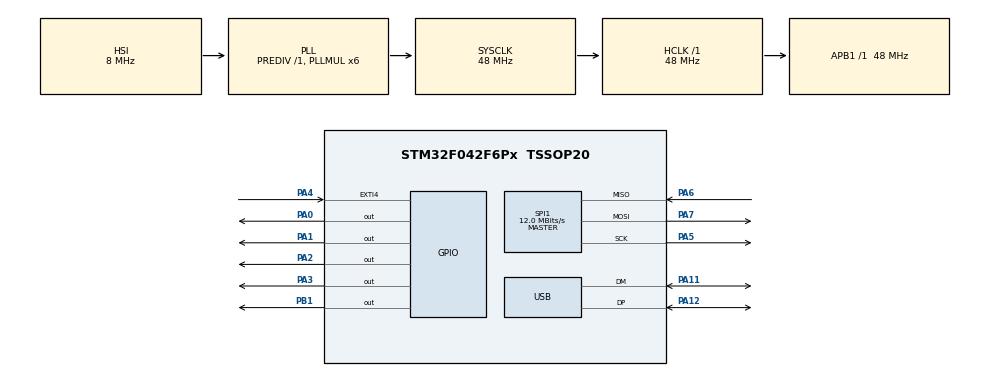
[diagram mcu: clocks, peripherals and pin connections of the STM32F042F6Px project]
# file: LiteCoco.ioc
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Dma.Request0=SPI1_RX
Dma.Request1=SPI1_TX
Dma.SPI1_RX.0.Direction=DMA_PERIPH_TO_MEMORY
Dma.SPI1_RX.0.Instance=DMA1_Channel2
Dma.SPI1_RX.0.MemDataAlignment=DMA_MDATAALIGN_HALFWORD
Dma.SPI1_RX.0.MemInc=DMA_MINC_ENABLE
Dma.SPI1_RX.0.Mode=DMA_NORMAL
Dma.SPI1_RX.0.PeriphDataAlignment=DMA_PDATAALIGN_HALFWORD
Dma.SPI1_RX.0.PeriphInc=DMA_PINC_DISABLE
Dma.SPI1_RX.0.Priority=DMA_PRIORITY_LOW
Dma.SPI1_TX.1.Direction=DMA_MEMORY_TO_PERIPH
Dma.SPI1_TX.1.Instance=DMA1_Channel3
Dma.SPI1_TX.1.MemDataAlignment=DMA_MDATAALIGN_HALFWORD
Dma.SPI1_TX.1.MemInc=DMA_MINC_ENABLE
Dma.SPI1_TX.1.Mode=DMA_NORMAL
Dma.SPI1_TX.1.PeriphDataAlignment=DMA_PDATAALIGN_HALFWORD
Dma.SPI1_TX.1.PeriphInc=DMA_PINC_DISABLE
Dma.SPI1_TX.1.Priority=DMA_PRIORITY_LOW
Mcu.Family=STM32F0
Mcu.Name=STM32F042F6Px
Mcu.Package=TSSOP20
NVIC.DMA1_Channel2_3_IRQn=true\:0\:0\:false\:false\:true\:false
NVIC.EXTI4_15_IRQn=true\:0\:0\:true\:false\:true\:true
NVIC.USB_IRQn=true\:0\:0\:false\:false\:true\:false
PA0.Signal=GPIO_Output
PA1.Signal=GPIO_Output
PA11.Mode=Device
PA11.Signal=USB_DM
PA12.Mode=Device
PA12.Signal=USB_DP
PA13.Mode=Serial_Wire
PA13.Signal=SYS_SWDIO
PA14.Mode=Serial_Wire
PA14.Signal=SYS_SWCLK
PA2.Signal=GPIO_Output
PA3.Signal=GPIO_Output
PA4.Signal=GPXTI4
PA5.Mode=Full_Duplex_Master
PA5.Signal=SPI1_SCK
PA6.Mode=Full_Duplex_Master
PA6.Signal=SPI1_MISO
PA7.Mode=Full_Duplex_Master
PA7.Signal=SPI1_MOSI
PB1.Signal=GPIO_Output
ProjectManager.HeapSize=0x200
ProjectManager.StackSize=0x400
ProjectManager.TargetToolchain=TrueSTUDIO
RCC.AHBFreq_Value=48000000
RCC.APB1Freq_Value=48000000
RCC.APB1TimFreq_Value=48000000
RCC.HCLKFreq_Value=48000000
RCC.PLLMUL=RCC_PLL_MUL6
RCC.SYSCLKFreq_VALUE=48000000
RCC.SYSCLKSource=RCC_SYSCLKSOURCE_PLLCLK
SPI1.BaudRatePrescaler=SPI_BAUDRATEPRESCALER_4
SPI1.CRCCalculation=SPI_CRCCALCULATION_ENABLE
SPI1.CRCLength=SPI_CRC_LENGTH_16BIT
SPI1.CRCPolynomial=X12+X5+X0
SPI1.CalculateBaudRate=12.0 MBits/s
SPI1.DataSize=SPI_DATASIZE_16BIT
SPI1.Direction=SPI_DIRECTION_2LINES
SPI1.Mode=SPI_MODE_MASTER
SPI1.NSSPMode=SPI_NSS_PULSE_DISABLE
SPI1.VirtualType=VM_MASTER
TIM16.AutoReloadPreload=TIM_AUTORELOAD_PRELOAD_ENABLE
TIM16.Period=1000
TIM16.Prescaler=48
USB_DEVICE.APP_RX_DATA_SIZE=128
USB_DEVICE.APP_TX_DATA_SIZE=128
USB_DEVICE.CLASS_NAME_FS=CDC
USB_DEVICE.CONFIGURATION_STRING_CDC_FS=U2S Coms
USB_DEVICE.MANUFACTURER_STRING=Ingenia
USB_DEVICE.PRODUCT_STRING_CDC_FS=Turonet
USB_DEVICE.VirtualMode=Cdc
USB_DEVICE.VirtualModeFS=Cdc_FS
VP_SYS_VS_PINREMAP.Mode=PINREMAP
VP_TIM16_VS_ClockSourceINT.Mode=Enable_Timer
VP_USB_DEVICE_VS_USB_DEVICE_CDC_FS.Mode=CDC_FS
board=LiteCoco

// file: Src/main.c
/**
  ******************************************************************************
  * @file           : main.c
  * @brief          : Main program body
  ******************************************************************************
  * This notice applies to any and all portions of this file
  * that are not between comment pairs USER CODE BEGIN and
  * USER CODE END. Other portions of this file, whether
  * inserted by the user or by software development tools
  * are owned by their respective copyright owners.
  *
  * Copyright (c) 2018 STMicroelectronics International N.V.
  * All rights reserved.
  *
  * Redistribution and use in source and binary forms, with or without
  * modification, are permitted, provided that the following conditions are met:
  *
  * 1. Redistribution of source code must retain the above copyright notice,
  *    this list of conditions and the following disclaimer.
  * 2. Redistributions in binary form must reproduce the above copyright notice,
  *    this list of conditions and the following disclaimer in the documentation
  *    and/or other materials provided with the distribution.
  * 3. Neither the name of STMicroelectronics nor the names of other
  *    contributors to this software may be used to endorse or promote products
  *    derived from this software without specific written permission.
  * 4. This software, including modifications and/or derivative works of this
  *    software, must execute solely and exclusively on microcontroller or
  *    microprocessor devices manufactured by or for STMicroelectronics.
  * 5. Redistribution and use of this software other than as permitted under
  *    this license is void and will automatically terminate your rights under
  *    this license.
  *
  * THIS SOFTWARE IS PROVIDED BY STMICROELECTRONICS AND CONTRIBUTORS "AS IS"
  * AND ANY EXPRESS, IMPLIED OR STATUTORY WARRANTIES, INCLUDING, BUT NOT
  * LIMITED TO, THE IMPLIED WARRANTIES OF MERCHANTABILITY, FITNESS FOR A
  * PARTICULAR PURPOSE AND NON-INFRINGEMENT OF THIRD PARTY INTELLECTUAL PROPERTY
  * RIGHTS ARE DISCLAIMED TO THE FULLEST EXTENT PERMITTED BY LAW. IN NO EVENT
  * SHALL STMICROELECTRONICS OR CONTRIBUTORS BE LIABLE FOR ANY DIRECT, INDIRECT,
  * INCIDENTAL, SPECIAL, EXEMPLARY, OR CONSEQUENTIAL DAMAGES (INCLUDING, BUT NOT
  * LIMITED TO, PROCUREMENT OF SUBSTITUTE GOODS OR SERVICES; LOSS OF USE, DATA,
  * OR PROFITS; OR BUSINESS INTERRUPTION) HOWEVER CAUSED AND ON ANY THEORY OF
  * LIABILITY, WHETHER IN CONTRACT, STRICT LIABILITY, OR TORT (INCLUDING
  * NEGLIGENCE OR OTHERWISE) ARISING IN ANY WAY OUT OF THE USE OF THIS SOFTWARE,
  * EVEN IF ADVISED OF THE POSSIBILITY OF SUCH DAMAGE.
  *
  ******************************************************************************
  */
#include "main.h"
#include "stm32f0xx_hal.h"
#include "usb_device.h"

/* USER CODE BEGIN Includes */
#include "ipb.h"
#include "mcb.h"
/* USER CODE END Includes */

SPI_HandleTypeDef hspi1;
DMA_HandleTypeDef hdma_spi1_rx;
DMA_HandleTypeDef hdma_spi1_tx;

TIM_HandleTypeDef htim16;

/* USER CODE BEGIN PV */
/* Private variables ---------------------------------------------------------*/

/* USER CODE END PV */

void SystemClock_Config(void);
static void MX_GPIO_Init(void);
static void MX_DMA_Init(void);
static void MX_SPI1_Init(void);
static void MX_TIM16_Init(void);
void AttachExtiEvent(void (*Event)(void*), void* pArg);
/* USER CODE BEGIN PFP */
/* Private function prototypes -----------------------------------------------*/
void IrqEvent(void* pArg);
/* USER CODE END PFP */

int main(void)
{
  /* USER CODE BEGIN 1 */
    Mcb_TInst dvrMaster;
    Mcb_TMsg mcbMsg;
    Ipb_TInst dvrSlave;
    Ipb_TMsg ipbMsg;
  /* USER CODE END 1 */

  /* MCU Configuration----------------------------------------------------------*/

  /* Reset of all peripherals, Initializes the Flash interface and the Systick. */
  HAL_Init();

  /* Configure the system clock */
  SystemClock_Config();

  /* Initialize all configured peripherals */
  MX_GPIO_Init();
  MX_DMA_Init();
  MX_SPI1_Init();
  MX_TIM16_Init();
  MX_USB_DEVICE_Init();
  /* USER CODE BEGIN 2 */
  Mcb_Init(&dvrMaster, MCB_BLOCKING, 0, false, MCB_DFLT_TIMEOUT);
  AttachExtiEvent(IrqEvent, &dvrMaster.tIntf);
  Ipb_Init(&dvrSlave, USB_BASED, IPB_BLOCKING);
  /* Put the device out of reset */
  HAL_GPIO_WritePin(GPIOA, GPIO_PIN_1, GPIO_PIN_RESET);
  /* USER CODE END 2 */

  /* Infinite loop */
  /* USER CODE BEGIN WHILE */
  while (1)
  {
    if (Ipb_Read(&dvrSlave, &ipbMsg, IPB_DFLT_TIMEOUT) == IPB_SUCCESS)
    {
        if (ipbMsg.u16Node == 10)
        {
            mcbMsg.u16Node = ipbMsg.u16SubNode;
            mcbMsg.u16Addr = ipbMsg.u16Addr;
            mcbMsg.u16Cmd = ipbMsg.u16Cmd;
            mcbMsg.u16Size = ipbMsg.u16Size;
            memcpy(mcbMsg.u16Data, ipbMsg.u16Data, mcbMsg.u16Size * sizeof(uint16_t));

            switch (mcbMsg.u16Cmd)
            {
                case MCB_REQ_READ:
                    mcbMsg.eStatus = Mcb_Read(&dvrMaster, &mcbMsg);
                    break;
                case MCB_REQ_WRITE:
                    mcbMsg.eStatus = Mcb_Write(&dvrMaster, &mcbMsg);
                    break;
                default:
                    mcbMsg.eStatus = MCB_ERROR;
                    break;
            }

            if (mcbMsg.eStatus == MCB_SUCCESS)
            {
                HAL_GPIO_WritePin(GPIOA, GPIO_PIN_0, GPIO_PIN_SET);
                ipbMsg.u16Size = mcbMsg.u16Size;
                ipbMsg.u16Cmd = IPB_REP_ACK;
                ipbMsg.eStatus = IPB_SUCCESS;

                memcpy(ipbMsg.u16Data, mcbMsg.u16Data, ipbMsg.u16Size * sizeof(uint16_t));
            }
            else
            {
                ipbMsg.u16Size = 4;
                ipbMsg.u16Cmd |= IPB_REP_ERROR;
                ipbMsg.eStatus = IPB_ERROR;
            }

            Ipb_Write(&dvrSlave, &ipbMsg, IPB_DFLT_TIMEOUT);
            HAL_GPIO_WritePin(GPIOA, GPIO_PIN_0, GPIO_PIN_RESET);
        }
      }
  /* USER CODE END WHILE */

  }

}

void SystemClock_Config(void)
{

  RCC_OscInitTypeDef RCC_OscInitStruct;
  RCC_ClkInitTypeDef RCC_ClkInitStruct;
  RCC_PeriphCLKInitTypeDef PeriphClkInit;

    /**Initializes the CPU, AHB and APB busses clocks
    */
  RCC_OscInitStruct.OscillatorType = RCC_OSCILLATORTYPE_HSI|RCC_OSCILLATORTYPE_HSI48;
  RCC_OscInitStruct.HSIState = RCC_HSI_ON;
  RCC_OscInitStruct.HSI48State = RCC_HSI48_ON;
  RCC_OscInitStruct.HSICalibrationValue = 16;
  RCC_OscInitStruct.PLL.PLLState = RCC_PLL_ON;
  RCC_OscInitStruct.PLL.PLLSource = RCC_PLLSOURCE_HSI;
  RCC_OscInitStruct.PLL.PLLMUL = RCC_PLL_MUL6;
  RCC_OscInitStruct.PLL.PREDIV = RCC_PREDIV_DIV1;
  if (HAL_RCC_OscConfig(&RCC_OscInitStruct) != HAL_OK)
  {
    _Error_Handler(__FILE__, __LINE__);
  }

    /**Initializes the CPU, AHB and APB busses clocks
    */
  RCC_ClkInitStruct.ClockType = RCC_CLOCKTYPE_HCLK|RCC_CLOCKTYPE_SYSCLK
                              |RCC_CLOCKTYPE_PCLK1;
  RCC_ClkInitStruct.SYSCLKSource = RCC_SYSCLKSOURCE_PLLCLK;
  RCC_ClkInitStruct.AHBCLKDivider = RCC_SYSCLK_DIV1;
  RCC_ClkInitStruct.APB1CLKDivider = RCC_HCLK_DIV1;

  if (HAL_RCC_ClockConfig(&RCC_ClkInitStruct, FLASH_LATENCY_1) != HAL_OK)
  {
    _Error_Handler(__FILE__, __LINE__);
  }

  PeriphClkInit.PeriphClockSelection = RCC_PERIPHCLK_USB;
  PeriphClkInit.UsbClockSelection = RCC_USBCLKSOURCE_HSI48;

  if (HAL_RCCEx_PeriphCLKConfig(&PeriphClkInit) != HAL_OK)
  {
    _Error_Handler(__FILE__, __LINE__);
  }

    /**Configure the Systick interrupt time
    */
  HAL_SYSTICK_Config(HAL_RCC_GetHCLKFreq()/1000);

    /**Configure the Systick
    */
  HAL_SYSTICK_CLKSourceConfig(SYSTICK_CLKSOURCE_HCLK);

  /* SysTick_IRQn interrupt configuration */
  HAL_NVIC_SetPriority(SysTick_IRQn, 0, 0);
}

/* SPI1 init function */
static void MX_SPI1_Init(void)
{

  /* SPI1 parameter configuration*/
  hspi1.Instance = SPI1;
  hspi1.Init.Mode = SPI_MODE_MASTER;
  hspi1.Init.Direction = SPI_DIRECTION_2LINES;
  hspi1.Init.DataSize = SPI_DATASIZE_16BIT;
  hspi1.Init.CLKPolarity = SPI_POLARITY_HIGH;
  hspi1.Init.CLKPhase = SPI_PHASE_1EDGE;
  hspi1.Init.NSS = SPI_NSS_SOFT;
  hspi1.Init.BaudRatePrescaler = SPI_BAUDRATEPRESCALER_4;
  hspi1.Init.FirstBit = SPI_FIRSTBIT_MSB;
  hspi1.Init.TIMode = SPI_TIMODE_DISABLE;
  hspi1.Init.CRCCalculation = SPI_CRCCALCULATION_ENABLE;
  hspi1.Init.CRCPolynomial = 4129;
  hspi1.Init.CRCLength = SPI_CRC_LENGTH_16BIT;
  hspi1.Init.NSSPMode = SPI_NSS_PULSE_DISABLE;
  if (HAL_SPI_Init(&hspi1) != HAL_OK)
  {
    _Error_Handler(__FILE__, __LINE__);
  }

}

/* TIM16 init function */
static void MX_TIM16_Init(void)
{

  htim16.Instance = TIM16;
  htim16.Init.Prescaler = 48;
  htim16.Init.CounterMode = TIM_COUNTERMODE_UP;
  htim16.Init.Period = 1000;
  htim16.Init.ClockDivision = TIM_CLOCKDIVISION_DIV1;
  htim16.Init.RepetitionCounter = 0;
  htim16.Init.AutoReloadPreload = TIM_AUTORELOAD_PRELOAD_ENABLE;
  if (HAL_TIM_Base_Init(&htim16) != HAL_OK)
  {
    _Error_Handler(__FILE__, __LINE__);
  }

}

static void MX_DMA_Init(void)
{
  /* DMA controller clock enable */
  __HAL_RCC_DMA1_CLK_ENABLE();

  /* DMA interrupt init */
  /* DMA1_Channel2_3_IRQn interrupt configuration */
  HAL_NVIC_SetPriority(DMA1_Channel2_3_IRQn, 0, 0);
  HAL_NVIC_EnableIRQ(DMA1_Channel2_3_IRQn);

}

/** Configure pins as
        * Analog
        * Input
        * Output
        * EVENT_OUT
        * EXTI
*/
static void MX_GPIO_Init(void)
{

  GPIO_InitTypeDef GPIO_InitStruct;

  /* GPIO Ports Clock Enable */
  __HAL_RCC_GPIOA_CLK_ENABLE();
  __HAL_RCC_GPIOB_CLK_ENABLE();

  /*Configure GPIO pin Output Level */
  HAL_GPIO_WritePin(GPIOA, GPIO_PIN_0|GPIO_PIN_1|GPIO_PIN_2|GPIO_PIN_3, GPIO_PIN_RESET);

  /*Configure GPIO pin Output Level */
  HAL_GPIO_WritePin(GPIOB, GPIO_PIN_1, GPIO_PIN_RESET);

  /*Configure GPIO pins : PA0 PA1 PA2 PA3 */
  GPIO_InitStruct.Pin = GPIO_PIN_0|GPIO_PIN_1|GPIO_PIN_2|GPIO_PIN_3;
  GPIO_InitStruct.Mode = GPIO_MODE_OUTPUT_PP;
  GPIO_InitStruct.Pull = GPIO_NOPULL;
  GPIO_InitStruct.Speed = GPIO_SPEED_FREQ_LOW;
  HAL_GPIO_Init(GPIOA, &GPIO_InitStruct);

  HAL_GPIO_WritePin(GPIOA, GPIO_PIN_2, GPIO_PIN_SET);

  /*Configure GPIO pin : PA4 */
  GPIO_InitStruct.Pin = GPIO_PIN_4;
  GPIO_InitStruct.Mode = GPIO_MODE_IT_RISING;
  GPIO_InitStruct.Pull = GPIO_NOPULL;
  HAL_GPIO_Init(GPIOA, &GPIO_InitStruct);

  /*Configure GPIO pin : PB1 */
  GPIO_InitStruct.Pin = GPIO_PIN_1;
  GPIO_InitStruct.Mode = GPIO_MODE_OUTPUT_PP;
  GPIO_InitStruct.Pull = GPIO_NOPULL;
  GPIO_InitStruct.Speed = GPIO_SPEED_FREQ_LOW;
  HAL_GPIO_Init(GPIOB, &GPIO_InitStruct);

  /* EXTI interrupt init*/
  HAL_NVIC_SetPriority(EXTI4_15_IRQn, 0, 0);
  HAL_NVIC_EnableIRQ(EXTI4_15_IRQn);

}

/* USER CODE BEGIN 4 */
void IrqEvent(void* pArg)
{
    Mcb_TIntf* ptInst = (Mcb_TIntf*) pArg;
    Mcb_IntfIRQEvent(ptInst);
}
/* USER CODE END 4 */

void _Error_Handler(char *file, int line)
{
  while(1)
  {
  }
}

/************************ (C) COPYRIGHT STMicroelectronics *****END OF FILE****/
